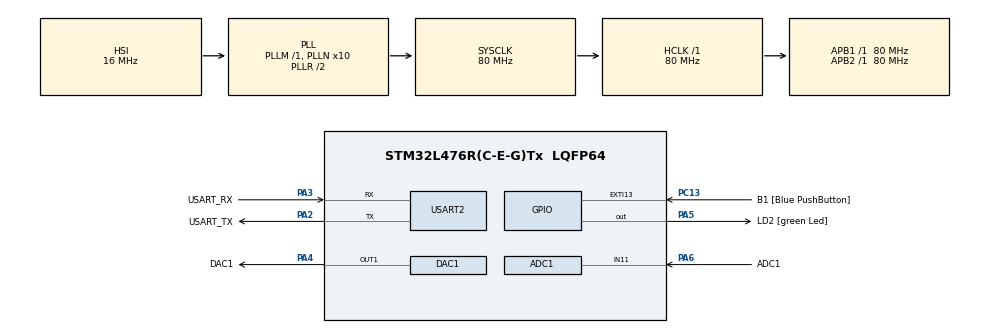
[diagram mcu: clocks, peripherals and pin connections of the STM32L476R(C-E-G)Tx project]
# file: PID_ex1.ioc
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ADC1.Channel-1\#ChannelRegularConversion=ADC_CHANNEL_11
ADC1.NbrOfConversionFlag=1
ADC1.OffsetNumber-1\#ChannelRegularConversion=ADC_OFFSET_NONE
ADC1.Rank-1\#ChannelRegularConversion=1
ADC1.SamplingTime-1\#ChannelRegularConversion=ADC_SAMPLETIME_2CYCLES_5
ADC1.master=1
Mcu.Family=STM32L4
Mcu.Name=STM32L476R(C-E-G)Tx
Mcu.Package=LQFP64
Mcu.UserConstants=TIM_PRESCALER,799;TIM_PERIOD,99
NVIC.ADC1_2_IRQn=true\:0\:0\:false\:false\:true\:true\:true
NVIC.EXTI15_10_IRQn=true\:0\:0\:false\:false\:true\:true\:true
NVIC.PriorityGroup=NVIC_PRIORITYGROUP_4
NVIC.USART2_IRQn=true\:0\:0\:false\:false\:true\:true\:true
PA13\ (JTMS-SWDIO).GPIO_Label=TMS
PA13\ (JTMS-SWDIO).Mode=Serial_Wire
PA13\ (JTMS-SWDIO).Signal=SYS_JTMS-SWDIO
PA14\ (JTCK-SWCLK).GPIO_Label=TCK
PA14\ (JTCK-SWCLK).Mode=Serial_Wire
PA14\ (JTCK-SWCLK).Signal=SYS_JTCK-SWCLK
PA2.GPIO_Label=USART_TX
PA2.GPIO_Mode=GPIO_MODE_AF_PP
PA2.GPIO_PuPd=GPIO_NOPULL
PA2.GPIO_Speed=GPIO_SPEED_FREQ_VERY_HIGH
PA2.Mode=Asynchronous
PA2.Signal=USART2_TX
PA3.GPIO_Label=USART_RX
PA3.GPIO_Mode=GPIO_MODE_AF_PP
PA3.GPIO_PuPd=GPIO_NOPULL
PA3.GPIO_Speed=GPIO_SPEED_FREQ_VERY_HIGH
PA3.Mode=Asynchronous
PA3.Signal=USART2_RX
PA4.GPIO_Label=DAC1
PA4.Signal=COMP_DAC11_group
PA5.GPIO_Label=LD2 [green Led]
PA5.GPIO_ModeDefaultOutputPP=GPIO_MODE_OUTPUT_PP
PA5.GPIO_PuPd=GPIO_NOPULL
PA5.GPIO_Speed=GPIO_SPEED_FREQ_LOW
PA5.Signal=GPIO_Output
PA6.GPIO_Label=ADC1
PA6.Signal=ADCx_IN11
PB3\ (JTDO-TRACESWO).GPIO_Label=SWO
PB3\ (JTDO-TRACESWO).Signal=SYS_JTDO-SWO
PC13.GPIO_Label=B1 [Blue PushButton]
PC13.GPIO_ModeDefaultEXTI=GPIO_MODE_IT_FALLING
PC13.GPIO_PuPd=GPIO_NOPULL
PC13.Signal=GPXTI13
PC14-OSC32_IN\ (PC14).Mode=LSE-External-Oscillator
PC14-OSC32_IN\ (PC14).Signal=RCC_OSC32_IN
PC15-OSC32_OUT\ (PC15).Mode=LSE-External-Oscillator
PC15-OSC32_OUT\ (PC15).Signal=RCC_OSC32_OUT
PH0-OSC_IN\ (PH0).Signal=RCC_OSC_IN
PH1-OSC_OUT\ (PH1).Signal=RCC_OSC_OUT
ProjectManager.HeapSize=0x200
ProjectManager.StackSize=0x400
ProjectManager.TargetToolchain=STM32CubeIDE
RCC.ADCFreq_Value=64000000
RCC.AHBFreq_Value=80000000
RCC.APB1Freq_Value=80000000
RCC.APB1TimFreq_Value=80000000
RCC.APB2Freq_Value=80000000
RCC.APB2TimFreq_Value=80000000
RCC.CortexFreq_Value=80000000
RCC.HCLKFreq_Value=80000000
RCC.HSE_VALUE=8000000
RCC.HSI_VALUE=16000000
RCC.MSI_VALUE=4000000
RCC.PLLN=10
RCC.PLLSourceVirtual=RCC_PLLSOURCE_HSI
RCC.PREFETCH_ENABLE=1
RCC.SYSCLKFreq_VALUE=80000000
RCC.SYSCLKSource=RCC_SYSCLKSOURCE_PLLCLK
RCC.USBFreq_Value=64000000
RCC.VCOOutputFreq_Value=160000000
SH.ADCx_IN11.0=ADC1_IN11,IN11-Single-Ended
SH.COMP_DAC11_group.0=DAC1_OUT1,DAC_OUT1
TIM6.Period=TIM_PERIOD
TIM6.Prescaler=TIM_PRESCALER
TIM6.TIM_MasterOutputTrigger=TIM_TRGO_UPDATE
USART2.VirtualMode-Asynchronous=VM_ASYNC
VP_TIM6_VS_ClockSourceINT.Mode=Enable_Timer
board=NUCLEO-L476RG

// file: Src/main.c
/* USER CODE BEGIN Header */
/**
 ******************************************************************************
 * @file           : main.c
 * @brief          : Main program body
 ******************************************************************************
 * @attention
 *
 * <h2><center>&copy; Copyright (c) 2019 STMicroelectronics.
 * All rights reserved.</center></h2>
 *
 * This software component is licensed by ST under BSD 3-Clause license,
 * the "License"; You may not use this file except in compliance with the
 * License. You may obtain a copy of the License at:
 *                        opensource.org/licenses/BSD-3-Clause
 *
 ******************************************************************************
 */
/* USER CODE END Header */
#include "main.h"
#include "adc.h"
#include "dac.h"
#include "tim.h"
#include "usart.h"
#include "gpio.h"

/* USER CODE BEGIN Includes */

// --> include all necessary headers for
// printf() redirection
// FreeRTOS related headers
#include "pid.h"

/* USER CODE END Includes */

void SystemClock_Config(void);

/* USER CODE BEGIN 0 */

void HAL_ADC_ConvCpltCallback(ADC_HandleTypeDef *hadc) {

}

void HAL_UART_RxCpltCallback(UART_HandleTypeDef *huart) {

}

void measureTask(void *args) {
	TickType_t xLastWakeTime;

	xLastWakeTime = xTaskGetTickCount();

	for (;;) {

	}
}

void controlTask(void *args) {
	TickType_t xLastWakeTime;

	xLastWakeTime = xTaskGetTickCount();

	for (;;) {

	}
}

void commTask(void *args) {
	TickType_t xLastWakeTime;

	xLastWakeTime = xTaskGetTickCount();

	for (;;) {

	}
}

void userTask(void *args) {
	TickType_t xLastWakeTime;

	xLastWakeTime = xTaskGetTickCount();

	for (;;) {

	}
}

/* USER CODE END 0 */

int main(void) {

	/* MCU Configuration--------------------------------------------------------*/

	/* Reset of all peripherals, Initializes the Flash interface and the Systick. */
	HAL_Init();

	/* Configure the system clock */
	SystemClock_Config();

	/* Initialize all configured peripherals */
	MX_GPIO_Init();
	MX_USART2_UART_Init();
	MX_ADC1_Init();
	MX_TIM6_Init();
	MX_DAC1_Init();
	/* USER CODE BEGIN 2 */

	// enable UART receive in interrupt mode

	// --> create all necessary synchronization mechanisms
	// --> create all necessary tasks
	printf("Starting!\r\n");

	// --> start FreeRTOS scheduler
	vTaskStartScheduler();

	// --> start FreeRTOS scheduler

	/* USER CODE END 2 */

	/* Infinite loop */
	while (1) {

	}
}

void SystemClock_Config(void) {
	RCC_OscInitTypeDef RCC_OscInitStruct = { 0 };
	RCC_ClkInitTypeDef RCC_ClkInitStruct = { 0 };
	RCC_PeriphCLKInitTypeDef PeriphClkInit = { 0 };

	/** Initializes the RCC Oscillators according to the specified parameters
	 * in the RCC_OscInitTypeDef structure.
	 */
	RCC_OscInitStruct.OscillatorType = RCC_OSCILLATORTYPE_HSI;
	RCC_OscInitStruct.HSIState = RCC_HSI_ON;
	RCC_OscInitStruct.HSICalibrationValue = RCC_HSICALIBRATION_DEFAULT;
	RCC_OscInitStruct.PLL.PLLState = RCC_PLL_ON;
	RCC_OscInitStruct.PLL.PLLSource = RCC_PLLSOURCE_HSI;
	RCC_OscInitStruct.PLL.PLLM = 1;
	RCC_OscInitStruct.PLL.PLLN = 10;
	RCC_OscInitStruct.PLL.PLLP = RCC_PLLP_DIV7;
	RCC_OscInitStruct.PLL.PLLQ = RCC_PLLQ_DIV2;
	RCC_OscInitStruct.PLL.PLLR = RCC_PLLR_DIV2;
	if (HAL_RCC_OscConfig(&RCC_OscInitStruct) != HAL_OK) {
		Error_Handler();
	}
	/** Initializes the CPU, AHB and APB buses clocks
	 */
	RCC_ClkInitStruct.ClockType = RCC_CLOCKTYPE_HCLK | RCC_CLOCKTYPE_SYSCLK
			| RCC_CLOCKTYPE_PCLK1 | RCC_CLOCKTYPE_PCLK2;
	RCC_ClkInitStruct.SYSCLKSource = RCC_SYSCLKSOURCE_PLLCLK;
	RCC_ClkInitStruct.AHBCLKDivider = RCC_SYSCLK_DIV1;
	RCC_ClkInitStruct.APB1CLKDivider = RCC_HCLK_DIV1;
	RCC_ClkInitStruct.APB2CLKDivider = RCC_HCLK_DIV1;

	if (HAL_RCC_ClockConfig(&RCC_ClkInitStruct, FLASH_LATENCY_4) != HAL_OK) {
		Error_Handler();
	}
	PeriphClkInit.PeriphClockSelection = RCC_PERIPHCLK_USART2
			| RCC_PERIPHCLK_ADC;
	PeriphClkInit.Usart2ClockSelection = RCC_USART2CLKSOURCE_PCLK1;
	PeriphClkInit.AdcClockSelection = RCC_ADCCLKSOURCE_PLLSAI1;
	PeriphClkInit.PLLSAI1.PLLSAI1Source = RCC_PLLSOURCE_HSI;
	PeriphClkInit.PLLSAI1.PLLSAI1M = 1;
	PeriphClkInit.PLLSAI1.PLLSAI1N = 8;
	PeriphClkInit.PLLSAI1.PLLSAI1P = RCC_PLLP_DIV7;
	PeriphClkInit.PLLSAI1.PLLSAI1Q = RCC_PLLQ_DIV2;
	PeriphClkInit.PLLSAI1.PLLSAI1R = RCC_PLLR_DIV2;
	PeriphClkInit.PLLSAI1.PLLSAI1ClockOut = RCC_PLLSAI1_ADC1CLK;
	if (HAL_RCCEx_PeriphCLKConfig(&PeriphClkInit) != HAL_OK) {
		Error_Handler();
	}
	/** Configure the main internal regulator output voltage
	 */
	if (HAL_PWREx_ControlVoltageScaling(PWR_REGULATOR_VOLTAGE_SCALE1)
			!= HAL_OK) {
		Error_Handler();
	}
}

void Error_Handler(void) {
}

/************************ (C) COPYRIGHT STMicroelectronics *****END OF FILE****/
